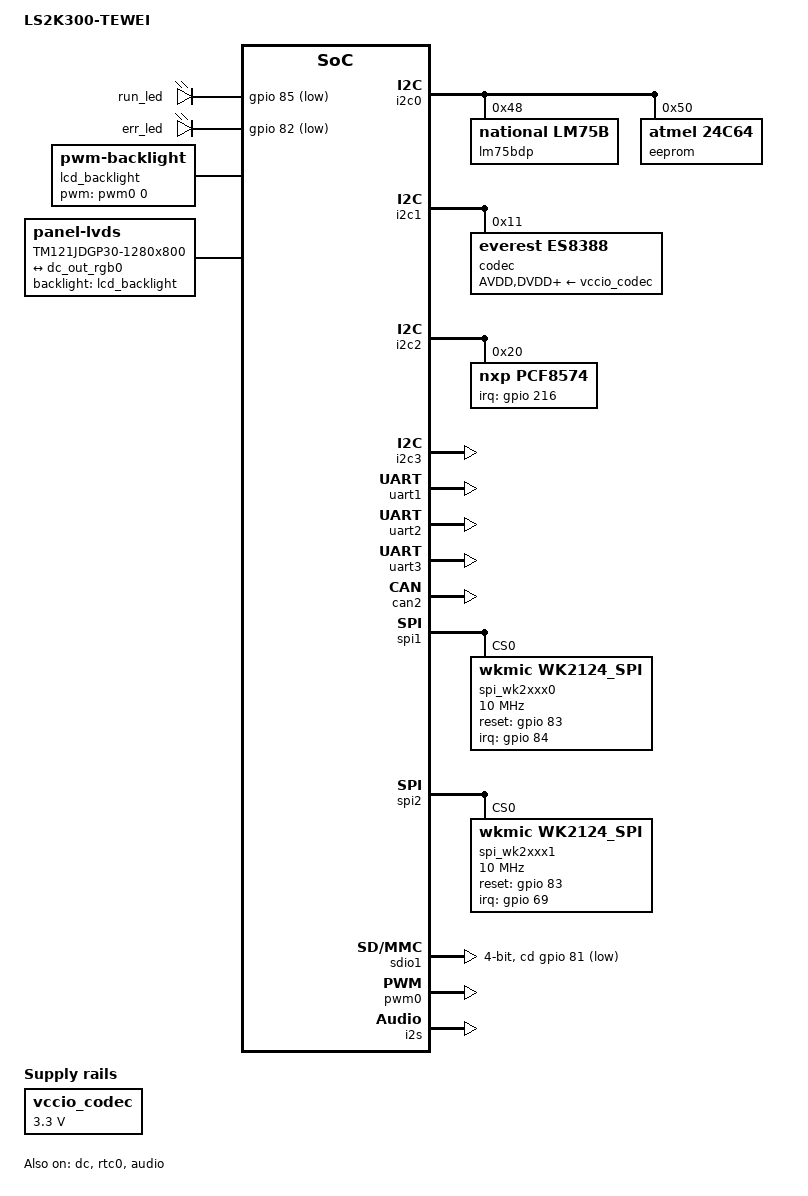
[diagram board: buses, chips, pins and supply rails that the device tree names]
#include "ls2k300_g2k03z0_core_v10.dtsi"
#include "loongson_panel_param.dtsi"
#include <dt-bindings/input/linux-event-codes.h>
#include <dt-bindings/pwm/pwm.h>

/ {
	model = "LS2K300-TEWEI";

	leds {
		compatible = "gpio-leds";

		run_led {
			label = "run_led";
			gpios = <&gpio 85 GPIO_ACTIVE_LOW>;
			linux,default-trigger = "heartbeat";
			default-state = "on";
		};

		err_led {
			label = "err_led";
			gpios = <&gpio 82 GPIO_ACTIVE_LOW>;
			default-state = "off";
		};
	};

	lcd_backlight: backlight {
		compatible = "pwm-backlight";
		pwms = <&pwm0 0 5000000 PWM_POLARITY_INVERTED>;
		brightness-levels = <0 4 8 16 32 64 128 255>;
		default-brightness-level = <7>;
	};

	panel: dvo-connector@0 {
		#address-cells = <1>;
		#size-cells = <0>;
		compatible = "panel-lvds", "auo,b101ean01";
		backlight = <&lcd_backlight>;

		width-mm = <261>;
		height-mm = <163>;
		label = "TM121JDGP30-1280x800";
		data-mapping = "jeida-24";

		panel-timing {
			clock-frequency = <72200000>;
			hactive = <1280>;
			vactive = <800>;
			hsync-len = <4>;
			hfront-porch = <72>;
			hback-porch = <84>;
			vfront-porch = <15>;
			vback-porch = <23>;
			vsync-len = <4>;
			de-active = <1>;
			hsync-active = <0>;
			vsync-active = <0>;
			pixelclk-active = <0>;
		};

		port@0 {
			reg = <0>;

			#address-cells = <1>;
			#size-cells = <0>;

			dvo_connector_in: endpoint@0 {
				reg = <0>;
				remote-endpoint = <&dc_out_rgb0>;
			};
		};
	};

	vccio_codec: 3_3V{
		compatible = "regulator-fixed";
		regulator-name = "VCC_IO";
		regulator-min-microvolt = <3300000>;
		regulator-max-microvolt = <3300000>;
		regulator-always-on;
	};

	// 虽然这个时钟在从模式下没用，但 es8388 驱动必须指定这个时钟
	es8388_clk: es8388-clock {
		compatible = "fixed-clock";
		clock-frequency = <12288000>;
		#clock-cells = <1>;
	};
};

&dc {
	status = "ok";

	ports {
		#address-cells = <1>;
		#size-cells = <0>;

		port@0 {
			reg = <0>;
			dc_out_rgb0: endpoint {
				remote-endpoint = <&dvo_connector_in>;
			};
		};
	};
};

&i2c0 {
	status = "ok";

	lm75bdp@48 {
		compatible = "national,lm75b";
		reg = <0x48>;
	};

	eeprom@50 {
		compatible = "atmel,24c64";
		reg = <0x50>;
		pagesize = <32>;
	};
};

&i2c1 {
	status = "ok";

	codec: es8388@11{
		compatible = "everest,es8388";
		reg = <0x11>;
		AVDD-supply = <&vccio_codec>;
		DVDD-supply = <&vccio_codec>;
		HPVDD-supply = <&vccio_codec>;
		PVDD-supply = <&vccio_codec>;
		clocks = <&es8388_clk 0>;
	};
};

&i2c2 {
	status = "ok";

	pcf8574@20 {
		compatible = "nxp,pcf8574";
		reg = <0x20>;
		// 2K300 GPIO 支持中断控制
		// GPIO 中断号为 vhwirq-base + pinnum (216 = 128 + 88)
		interrupt-parent = <&gpio>;
		interrupts = <216 0>;
		gpio-controller;
		#gpio-cells = <2>;
		interrupt-controller;
		#interrupt-cells = <2>;
	};
};

&i2c3 {
	status = "ok";
};

&uart1 {
	status = "ok";
};

&uart2 {
	status = "ok";
};

&uart3 {
	status = "ok";
};

&can2 {
	status = "ok";
};

&spi1 {
	status = "ok";

	spi_wk2xxx0: spi_wk2xxx@0 {
		status = "okay";
		compatible = "wkmic,wk2124_spi";
		reg = <0x0>;
		spi-max-frequency = <10000000>;
		reset-gpio = <&gpio 83 GPIO_ACTIVE_HIGH>;
		irq-gpio = <&gpio 84 IRQ_TYPE_EDGE_FALLING>;
		use-common-reset-gpio;
	};
};

&spi2 {
	status = "ok";

	spi_wk2xxx1: spi_wk2xxx@0 {
		status = "okay";
		compatible = "wkmic,wk2124_spi";
		reg = <0x0>;
		spi-max-frequency = <10000000>;
		reset-gpio = <&gpio 83 GPIO_ACTIVE_HIGH>;
		irq-gpio = <&gpio 69 IRQ_TYPE_EDGE_FALLING>;
		use-common-reset-gpio;
	};
};

&rtc0 {
	status = "okay";
};

&sdio1 {
	pinctrl-0 = <&sdio1_pins>;
	pinctrl-names = "default";
	cap-sd-highspeed;
	cap-mmc-highspeed;
	bus-width = <4>;
	cd-gpios = <&gpio 81 GPIO_ACTIVE_LOW>;
	status = "okay";
};

&pwm0 {
	status = "okay";
	#pwm-cells = <3>;
};

&i2s {
	status = "okay";
	//slave-mode;
	//mclk-fixed = <12288000>;
};

&audio {
	status = "okay";
};

&sound {
	status = "okay";
	loongson,audio-codec = <&codec>;
	// Easy Compatible for asound.state Configure
	loongson,sound-card-name = "ES8388";
};

